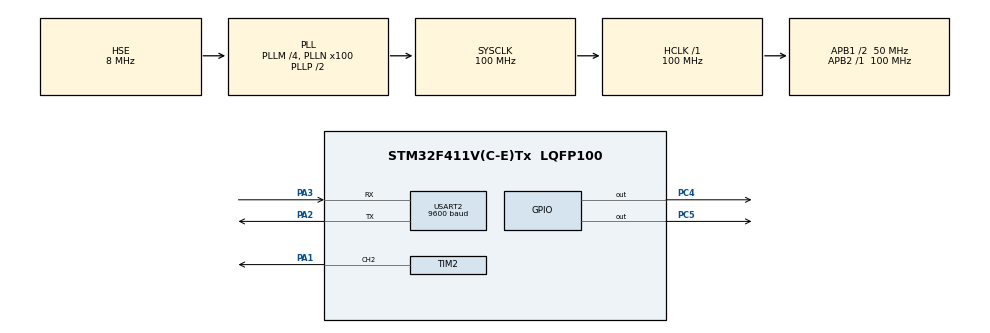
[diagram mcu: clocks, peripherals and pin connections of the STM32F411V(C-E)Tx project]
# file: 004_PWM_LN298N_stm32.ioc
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Mcu.Family=STM32F4
Mcu.Name=STM32F411V(C-E)Tx
Mcu.Package=LQFP100
NVIC.PriorityGroup=NVIC_PRIORITYGROUP_4
NVIC.USART2_IRQn=true\:0\:0\:false\:false\:true\:true\:true\:true
PA1.Signal=S_TIM2_CH2
PA2.Mode=Asynchronous
PA2.Signal=USART2_TX
PA3.Mode=Asynchronous
PA3.Signal=USART2_RX
PC4.Signal=GPIO_Output
PC5.Signal=GPIO_Output
PH0\ -\ OSC_IN.Mode=HSE-External-Oscillator
PH0\ -\ OSC_IN.Signal=RCC_OSC_IN
PH1\ -\ OSC_OUT.Mode=HSE-External-Oscillator
PH1\ -\ OSC_OUT.Signal=RCC_OSC_OUT
ProjectManager.HeapSize=0x200
ProjectManager.StackSize=0x400
ProjectManager.TargetToolchain=STM32CubeIDE
RCC.48MHZClocksFreq_Value=50000000
RCC.AHBFreq_Value=100000000
RCC.APB1CLKDivider=RCC_HCLK_DIV2
RCC.APB1Freq_Value=50000000
RCC.APB1TimFreq_Value=100000000
RCC.APB2Freq_Value=100000000
RCC.APB2TimFreq_Value=100000000
RCC.CortexFreq_Value=100000000
RCC.HCLKFreq_Value=100000000
RCC.HSE_VALUE=8000000
RCC.HSI_VALUE=16000000
RCC.LSE_VALUE=32768
RCC.PLLM=4
RCC.PLLN=100
RCC.PLLSourceVirtual=RCC_PLLSOURCE_HSE
RCC.SYSCLKFreq_VALUE=100000000
RCC.SYSCLKSource=RCC_SYSCLKSOURCE_PLLCLK
RCC.VCOOutputFreq_Value=200000000
SH.S_TIM2_CH2.0=TIM2_CH2,PWM Generation2 CH2
TIM2.Channel-PWM\ Generation2\ CH2=TIM_CHANNEL_2
TIM2.Period=625
TIM2.Prescaler=200
USART2.BaudRate=9600
USART2.VirtualMode=VM_ASYNC
VP_TIM2_VS_ClockSourceINT.Mode=Internal
board=custom

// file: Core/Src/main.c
/* USER CODE BEGIN Header */
/**
 ******************************************************************************
 * @file           : main.c
 * @brief          : Main program body
 ******************************************************************************
 * @attention
 *
 * Copyright (c) 2023 STMicroelectronics.
 * All rights reserved.
 *
 * This software is licensed under terms that can be found in the LICENSE file
 * in the root directory of this software component.
 * If no LICENSE file comes with this software, it is provided AS-IS.
 *
 ******************************************************************************
 */
/* USER CODE END Header */
#include "main.h"

TIM_HandleTypeDef htim2;

UART_HandleTypeDef huart2;

void SystemClock_Config(void);
static void MX_GPIO_Init(void);
static void MX_USART2_UART_Init(void);
static void MX_TIM2_Init(void);

int main(void)
{

  /* MCU Configuration--------------------------------------------------------*/

  /* Reset of all peripherals, Initializes the Flash interface and the Systick. */
  HAL_Init();

  /* Configure the system clock */
  SystemClock_Config();

  /* Initialize all configured peripherals */
  MX_GPIO_Init();
  MX_USART2_UART_Init();
  MX_TIM2_Init();
  /* USER CODE BEGIN 2 */
	HAL_TIM_PWM_Start(&htim2, TIM_CHANNEL_2);
	// Prescaler = (Saat Hızı) x (İstenen Zaman Dilimi) / (1,000,000)
	// Prescaler = (100,000,000) x (2000) / (1,000,000) = 200
	int speed = 2000;
	HAL_GPIO_WritePin(GPIOC, GPIO_PIN_4, 0);
	HAL_GPIO_WritePin(GPIOC, GPIO_PIN_5, 0);
  /* USER CODE END 2 */

  /* Infinite loop */
	while (1) {

    /* USER CODE BEGIN 3 */
		HAL_GPIO_WritePin(GPIOC, GPIO_PIN_4, 0);
		HAL_GPIO_WritePin(GPIOC, GPIO_PIN_5, 1);
		__HAL_TIM_SET_COMPARE(&htim2, TIM_CHANNEL_2, speed);
		HAL_Delay(5000);

		HAL_GPIO_WritePin(GPIOC, GPIO_PIN_4, 0);
		HAL_GPIO_WritePin(GPIOC, GPIO_PIN_5, 0);
		__HAL_TIM_SET_COMPARE(&htim2, TIM_CHANNEL_2, 0);
		HAL_Delay(1000);

		HAL_GPIO_WritePin(GPIOC, GPIO_PIN_4, 1);
		HAL_GPIO_WritePin(GPIOC, GPIO_PIN_5, 0);
		__HAL_TIM_SET_COMPARE(&htim2, TIM_CHANNEL_2, speed);
		HAL_Delay(5000);

		HAL_GPIO_WritePin(GPIOC, GPIO_PIN_4, 0);
		HAL_GPIO_WritePin(GPIOC, GPIO_PIN_5, 0);
		__HAL_TIM_SET_COMPARE(&htim2, TIM_CHANNEL_2, 0);
		HAL_Delay(1000);
	}
  /* USER CODE END 3 */
}

void SystemClock_Config(void)
{
  RCC_OscInitTypeDef RCC_OscInitStruct = {0};
  RCC_ClkInitTypeDef RCC_ClkInitStruct = {0};

  /** Configure the main internal regulator output voltage
  */
  __HAL_RCC_PWR_CLK_ENABLE();
  __HAL_PWR_VOLTAGESCALING_CONFIG(PWR_REGULATOR_VOLTAGE_SCALE1);

  /** Initializes the RCC Oscillators according to the specified parameters
  * in the RCC_OscInitTypeDef structure.
  */
  RCC_OscInitStruct.OscillatorType = RCC_OSCILLATORTYPE_HSE;
  RCC_OscInitStruct.HSEState = RCC_HSE_ON;
  RCC_OscInitStruct.PLL.PLLState = RCC_PLL_ON;
  RCC_OscInitStruct.PLL.PLLSource = RCC_PLLSOURCE_HSE;
  RCC_OscInitStruct.PLL.PLLM = 4;
  RCC_OscInitStruct.PLL.PLLN = 100;
  RCC_OscInitStruct.PLL.PLLP = RCC_PLLP_DIV2;
  RCC_OscInitStruct.PLL.PLLQ = 4;
  if (HAL_RCC_OscConfig(&RCC_OscInitStruct) != HAL_OK)
  {
    Error_Handler();
  }

  /** Initializes the CPU, AHB and APB buses clocks
  */
  RCC_ClkInitStruct.ClockType = RCC_CLOCKTYPE_HCLK|RCC_CLOCKTYPE_SYSCLK
                              |RCC_CLOCKTYPE_PCLK1|RCC_CLOCKTYPE_PCLK2;
  RCC_ClkInitStruct.SYSCLKSource = RCC_SYSCLKSOURCE_PLLCLK;
  RCC_ClkInitStruct.AHBCLKDivider = RCC_SYSCLK_DIV1;
  RCC_ClkInitStruct.APB1CLKDivider = RCC_HCLK_DIV2;
  RCC_ClkInitStruct.APB2CLKDivider = RCC_HCLK_DIV1;

  if (HAL_RCC_ClockConfig(&RCC_ClkInitStruct, FLASH_LATENCY_3) != HAL_OK)
  {
    Error_Handler();
  }
}

static void MX_TIM2_Init(void)
{

  TIM_ClockConfigTypeDef sClockSourceConfig = {0};
  TIM_MasterConfigTypeDef sMasterConfig = {0};
  TIM_OC_InitTypeDef sConfigOC = {0};

  htim2.Instance = TIM2;
  htim2.Init.Prescaler = 200;
  htim2.Init.CounterMode = TIM_COUNTERMODE_UP;
  htim2.Init.Period = 625;
  htim2.Init.ClockDivision = TIM_CLOCKDIVISION_DIV1;
  htim2.Init.AutoReloadPreload = TIM_AUTORELOAD_PRELOAD_DISABLE;
  if (HAL_TIM_Base_Init(&htim2) != HAL_OK)
  {
    Error_Handler();
  }
  sClockSourceConfig.ClockSource = TIM_CLOCKSOURCE_INTERNAL;
  if (HAL_TIM_ConfigClockSource(&htim2, &sClockSourceConfig) != HAL_OK)
  {
    Error_Handler();
  }
  if (HAL_TIM_PWM_Init(&htim2) != HAL_OK)
  {
    Error_Handler();
  }
  sMasterConfig.MasterOutputTrigger = TIM_TRGO_RESET;
  sMasterConfig.MasterSlaveMode = TIM_MASTERSLAVEMODE_DISABLE;
  if (HAL_TIMEx_MasterConfigSynchronization(&htim2, &sMasterConfig) != HAL_OK)
  {
    Error_Handler();
  }
  sConfigOC.OCMode = TIM_OCMODE_PWM1;
  sConfigOC.Pulse = 0;
  sConfigOC.OCPolarity = TIM_OCPOLARITY_HIGH;
  sConfigOC.OCFastMode = TIM_OCFAST_DISABLE;
  if (HAL_TIM_PWM_ConfigChannel(&htim2, &sConfigOC, TIM_CHANNEL_2) != HAL_OK)
  {
    Error_Handler();
  }
  HAL_TIM_MspPostInit(&htim2);

}

static void MX_USART2_UART_Init(void)
{

  huart2.Instance = USART2;
  huart2.Init.BaudRate = 9600;
  huart2.Init.WordLength = UART_WORDLENGTH_8B;
  huart2.Init.StopBits = UART_STOPBITS_1;
  huart2.Init.Parity = UART_PARITY_NONE;
  huart2.Init.Mode = UART_MODE_TX_RX;
  huart2.Init.HwFlowCtl = UART_HWCONTROL_NONE;
  huart2.Init.OverSampling = UART_OVERSAMPLING_16;
  if (HAL_UART_Init(&huart2) != HAL_OK)
  {
    Error_Handler();
  }

}

static void MX_GPIO_Init(void)
{
  GPIO_InitTypeDef GPIO_InitStruct = {0};

  /* GPIO Ports Clock Enable */
  __HAL_RCC_GPIOH_CLK_ENABLE();
  __HAL_RCC_GPIOA_CLK_ENABLE();
  __HAL_RCC_GPIOC_CLK_ENABLE();

  /*Configure GPIO pin Output Level */
  HAL_GPIO_WritePin(GPIOC, GPIO_PIN_4|GPIO_PIN_5, GPIO_PIN_RESET);

  /*Configure GPIO pins : PC4 PC5 */
  GPIO_InitStruct.Pin = GPIO_PIN_4|GPIO_PIN_5;
  GPIO_InitStruct.Mode = GPIO_MODE_OUTPUT_PP;
  GPIO_InitStruct.Pull = GPIO_NOPULL;
  GPIO_InitStruct.Speed = GPIO_SPEED_FREQ_LOW;
  HAL_GPIO_Init(GPIOC, &GPIO_InitStruct);

}

void Error_Handler(void)
{
	__disable_irq();
	while (1) {
	}
}
